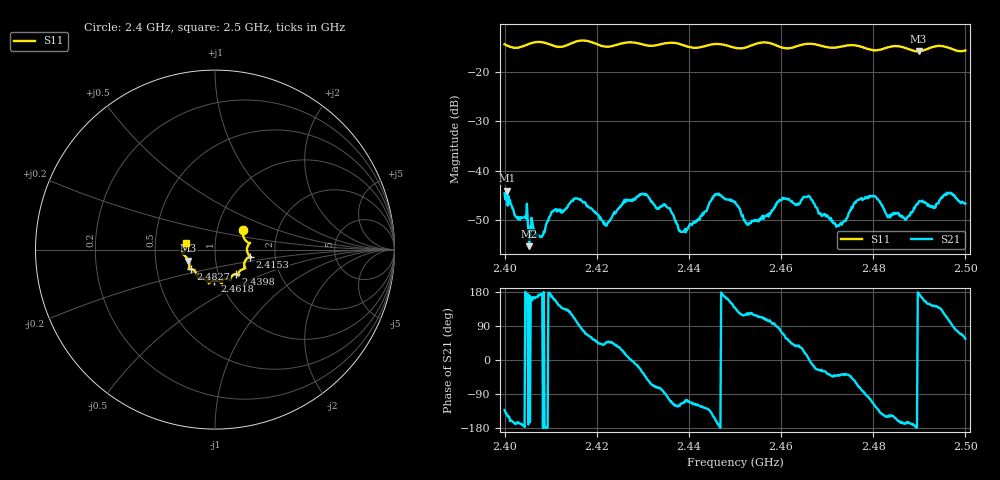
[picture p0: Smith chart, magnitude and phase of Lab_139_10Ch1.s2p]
# Hz S RI R 50
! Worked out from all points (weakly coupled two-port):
!   601 points, 2.4 GHz to 2.5 GHz, reference 50 ohm
!   highest |S21| = -44.01 dB at 2.4005 GHz (marker M1); lowest = -55.2 dB at 2.4053 GHz (marker M2)
!   lowest |S11| = -15.9 dB at 2.4898 GHz (marker M3), VSWR 1.38, Z = 36.9 - j4.64 ohm
!   |S11| at or under -10 dB: start of sweep to end of sweep
!   S12 and S22 are empty: the file has one direction only
!   S11 on the Smith chart (normalised r, x): 2.4 GHz: 1.33, +0.29; 2.4153 GHz: 1.48, -0.12; 2.4398 GHz: 1.21, -0.34; 2.4618 GHz: 0.94, -0.33; 2.4827 GHz: 0.75, -0.17; 2.5 GHz: 0.72, +0.06
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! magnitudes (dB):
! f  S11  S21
! 2.4 GHz  -14.5  -44.6
! 2.4005 GHz  -14.7  -44.0
! 2.4053 GHz  -14.4  -55.2
! 2.4078 GHz  -14.0  -53.3
! 2.4107 GHz  -14.8  -48.1
! 2.4153 GHz  -14.0  -45.6
! 2.4167 GHz  -13.7  -46.0
! 2.422 GHz  -14.9  -50.9
! 2.4297 GHz  -14.4  -44.7
! 2.4333 GHz  -14.6  -47.6
! 2.4398 GHz  -15.0  -51.4
! 2.4458 GHz  -14.4  -44.9
! 2.45 GHz  -15.2  -46.3
! 2.453 GHz  -14.9  -50.9
! 2.4618 GHz  -15.3  -45.9
! 2.4667 GHz  -14.4  -45.9
! 2.4722 GHz  -15.1  -51.1
! 2.4795 GHz  -15.6  -45.1
! 2.4827 GHz  -15.2  -48.6
! 2.4833 GHz  -15.0  -49.3
! 2.4898 GHz  -15.9  -46.4
! 2.5 GHz  -15.7  -46.6
